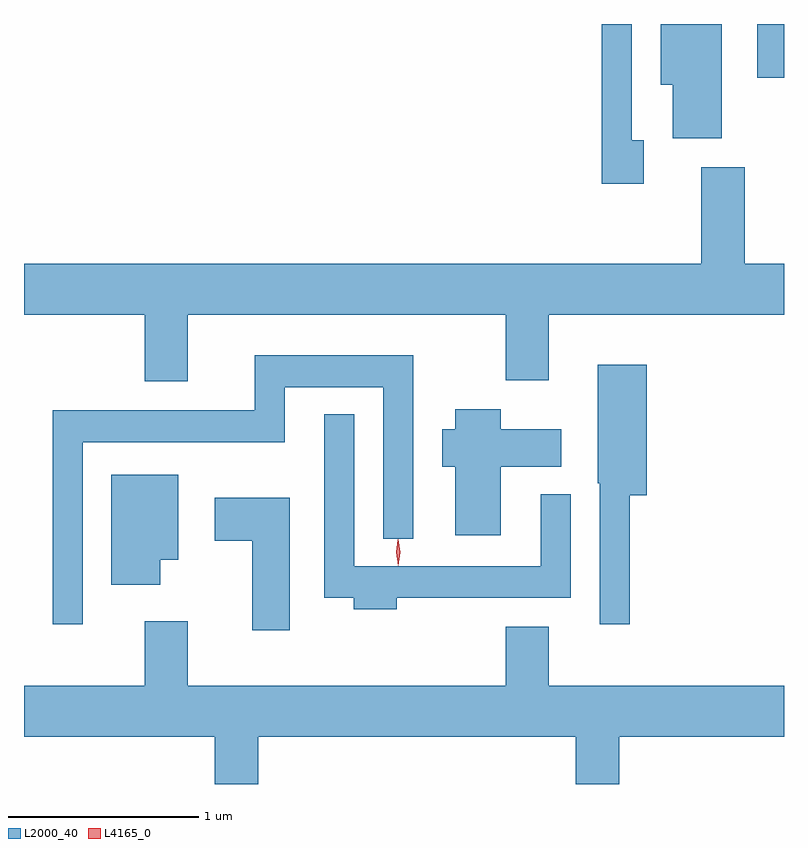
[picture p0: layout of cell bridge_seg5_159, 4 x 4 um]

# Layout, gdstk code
import gdstk
lib = gdstk.Library(unit=1e-6, precision=1e-09)
def R(c, l, rs):  # rectangles x0, y0, x1, y1
    for r in rs: c.add(gdstk.rectangle(r[:2], r[2:], *l))
def P(c, l, *ps):  # polygons
    for p in ps: c.add(gdstk.Polygon(p, *l))
L2000_40 = (2000, 40)
L4165_0 = (4165, 0)

bridge_seg5_159 = lib.new_cell('bridge_seg5_159')
R(bridge_seg5_159, L2000_40, [(1205.486,1422.523,1205.626,1422.807)])
P(bridge_seg5_159, L2000_40, [(1205.299,1422.807),(1204.976,1422.807),(1204.976,1422.486),(1205.041,1422.486),(1205.041,1422.206),(1205.299,1422.206)],
  [(1204.889,1422.194),(1204.824,1422.194),(1204.824,1422.807),(1204.666,1422.807),(1204.666,1421.966),(1204.889,1421.966)],
  [(1202.489,1421.276),(1204.161,1421.276),(1204.161,1420.931),(1204.389,1420.931),(1204.389,1421.276),(1205.626,1421.276),(1205.626,1421.544),(1205.419,1421.544),(1205.419,1422.054),(1205.191,1422.054),(1205.191,1421.544),(1201.626,1421.544),(1201.626,1421.276),(1202.261,1421.276),(1202.261,1420.926),(1202.489,1420.926)],
  [(1201.934,1420.606),(1202.999,1420.606),(1202.999,1420.896),(1203.516,1420.896),(1203.516,1420.098),(1203.674,1420.098),(1203.674,1421.064),(1202.841,1421.064),(1202.841,1420.774),(1201.776,1420.774),(1201.776,1419.648),(1201.934,1419.648)],
  [(1204.814,1420.326),(1204.904,1420.326),(1204.904,1421.014),(1204.646,1421.014),(1204.646,1420.39),(1204.656,1420.39),(1204.656,1419.648),(1204.814,1419.648)],
  [(1204.134,1420.476),(1204.454,1420.476),(1204.454,1420.674),(1204.134,1420.674),(1204.134,1420.779),(1203.896,1420.779),(1203.896,1420.674),(1203.826,1420.674),(1203.826,1420.476),(1203.896,1420.476),(1203.896,1420.116),(1204.134,1420.116)],
  [(1203.589,1419.786),(1204.504,1419.786),(1204.504,1420.333),(1204.346,1420.333),(1204.346,1419.954),(1203.364,1419.954),(1203.364,1420.753),(1203.206,1420.753),(1203.206,1419.786),(1203.361,1419.786),(1203.361,1419.726),(1203.589,1419.726)],
  [(1202.344,1419.986),(1202.439,1419.986),(1202.439,1420.434),(1202.086,1420.434),(1202.086,1419.856),(1202.344,1419.856)],
  [(1203.024,1420.314),(1202.631,1420.314),(1202.631,1420.086),(1202.826,1420.086),(1202.826,1419.616),(1203.024,1419.616)],
  [(1202.859,1419.056),(1204.531,1419.056),(1204.531,1418.807),(1204.759,1418.807),(1204.759,1419.056),(1205.626,1419.056),(1205.626,1419.324),(1204.389,1419.324),(1204.389,1419.634),(1204.161,1419.634),(1204.161,1419.324),(1202.489,1419.324),(1202.489,1419.664),(1202.261,1419.664),(1202.261,1419.324),(1201.626,1419.324),(1201.626,1419.056),(1202.631,1419.056),(1202.631,1418.807),(1202.859,1418.807)])
P(bridge_seg5_159, L4165_0, [(1203.595,1419.959),(1203.595,1419.96),(1203.585,1420.026),(1203.594,1420.092),(1203.595,1420.093),(1203.596,1420.092),(1203.605,1420.026),(1203.596,1419.96)],
  [(1203.596,1419.957),(1203.596,1419.957),(1203.586,1420.027),(1203.596,1420.096),(1203.596,1420.096),(1203.597,1420.096),(1203.606,1420.027),(1203.597,1419.957)])

lib.write_gds('bridge_seg5_159.gds')
